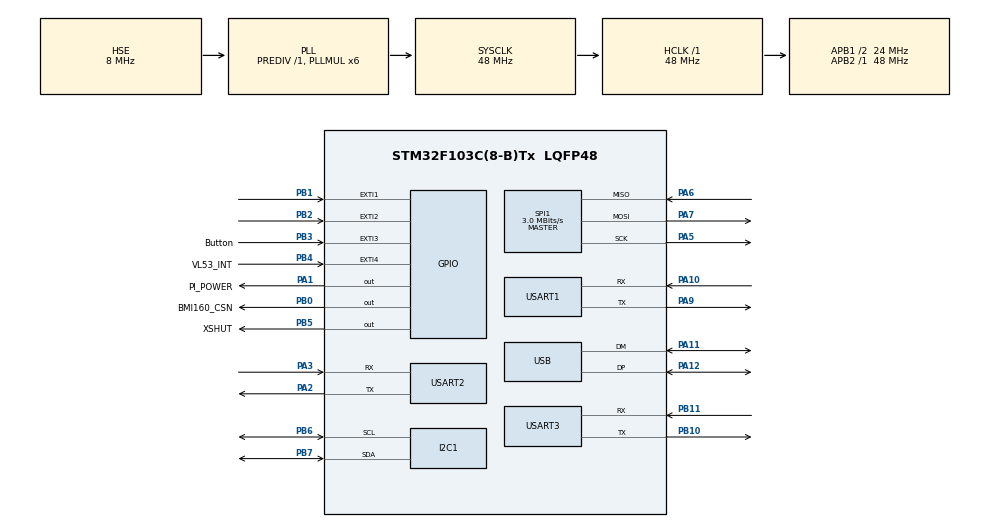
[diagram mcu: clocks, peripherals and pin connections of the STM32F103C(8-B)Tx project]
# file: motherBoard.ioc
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Dma.Request0=USART1_RX
Dma.USART1_RX.0.Direction=DMA_PERIPH_TO_MEMORY
Dma.USART1_RX.0.Instance=DMA1_Channel5
Dma.USART1_RX.0.MemDataAlignment=DMA_MDATAALIGN_BYTE
Dma.USART1_RX.0.MemInc=DMA_MINC_ENABLE
Dma.USART1_RX.0.Mode=DMA_NORMAL
Dma.USART1_RX.0.PeriphDataAlignment=DMA_PDATAALIGN_BYTE
Dma.USART1_RX.0.PeriphInc=DMA_PINC_DISABLE
Dma.USART1_RX.0.Priority=DMA_PRIORITY_LOW
Mcu.Family=STM32F1
Mcu.Name=STM32F103C(8-B)Tx
Mcu.Package=LQFP48
NVIC.DMA1_Channel5_IRQn=true\:0\:0\:false\:false\:true
NVIC.EXTI3_IRQn=true\:2\:0\:true\:false\:true
NVIC.PriorityGroup=NVIC_PRIORITYGROUP_4
NVIC.TIM1_UP_IRQn=true\:0\:0\:false\:false\:true
NVIC.USB_LP_CAN1_RX0_IRQn=true\:0\:0\:false\:false\:true
PA0-WKUP.Mode=SYS_WakeUp0
PA0-WKUP.Signal=SYS_WKUP
PA1.GPIO_Label=PI_POWER
PA1.PinState=GPIO_PIN_SET
PA1.Signal=GPIO_Output
PA10.Mode=Asynchronous
PA10.Signal=USART1_RX
PA11.Mode=Device
PA11.Signal=USB_DM
PA12.Mode=Device
PA12.Signal=USB_DP
PA13.Mode=Serial_Wire
PA13.Signal=SYS_JTMS-SWDIO
PA14.Mode=Serial_Wire
PA14.Signal=SYS_JTCK-SWCLK
PA2.Mode=Asynchronous
PA2.Signal=USART2_TX
PA3.Mode=Asynchronous
PA3.Signal=USART2_RX
PA5.Mode=Full_Duplex_Master
PA5.Signal=SPI1_SCK
PA6.Mode=Full_Duplex_Master
PA6.Signal=SPI1_MISO
PA7.Mode=Full_Duplex_Master
PA7.Signal=SPI1_MOSI
PA9.Mode=Asynchronous
PA9.Signal=USART1_TX
PB0.GPIO_Label=BMI160_CSN
PB0.Signal=GPIO_Output
PB1.Signal=GPXTI1
PB10.Mode=Asynchronous
PB10.Signal=USART3_TX
PB11.Mode=Asynchronous
PB11.Signal=USART3_RX
PB2.Signal=GPXTI2
PB3.GPIO_Label=Button
PB3.GPIO_ModeDefaultEXTI=GPIO_MODE_IT_FALLING
PB3.GPIO_PuPd=GPIO_PULLUP
PB3.Signal=GPXTI3
PB4.GPIO_Label=VL53_INT
PB4.Signal=GPXTI4
PB5.GPIO_Label=XSHUT
PB5.Signal=GPIO_Output
PB6.Mode=I2C
PB6.Signal=I2C1_SCL
PB7.Mode=I2C
PB7.Signal=I2C1_SDA
PD0-OSC_IN.Mode=HSE-External-Clock-Source
PD0-OSC_IN.Signal=RCC_OSC_IN
PD1-OSC_OUT.Mode=HSE-External-Clock-Source
PD1-OSC_OUT.Signal=RCC_OSC_OUT
ProjectManager.HeapSize=0x200
ProjectManager.StackSize=0x400
ProjectManager.TargetToolchain=MDK-ARM V5
RCC.AHBFreq_Value=48000000
RCC.APB1CLKDivider=RCC_HCLK_DIV2
RCC.APB1Freq_Value=24000000
RCC.APB1TimFreq_Value=48000000
RCC.APB2Freq_Value=48000000
RCC.APB2TimFreq_Value=48000000
RCC.HCLKFreq_Value=48000000
RCC.PLLMUL=RCC_PLL_MUL6
RCC.SYSCLKFreq_VALUE=48000000
RCC.SYSCLKSource=RCC_SYSCLKSOURCE_PLLCLK
RCC.USBFreq_Value=48000000
SPI1.BaudRatePrescaler=SPI_BAUDRATEPRESCALER_16
SPI1.CalculateBaudRate=3.0 MBits/s
SPI1.Direction=SPI_DIRECTION_2LINES
SPI1.Mode=SPI_MODE_MASTER
SPI1.VirtualType=VM_MASTER
TIM1.Period=4999
TIM1.Prescaler=47
USART1.VirtualMode=VM_ASYNC
USART2.VirtualMode=VM_ASYNC
USART3.VirtualMode=VM_ASYNC
USB.ep0_mps=DEP0CTL_MPS_64
USB_DEVICE.CLASS_NAME_FS=CDC
USB_DEVICE.VirtualMode=Cdc
USB_DEVICE.VirtualModeFS=Cdc_FS
VP_TIM1_VS_ClockSourceINT.Mode=Internal
VP_USB_DEVICE_VS_USB_DEVICE_CDC_FS.Mode=CDC_FS
board=motherBoard

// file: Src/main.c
/**
  ******************************************************************************
  * File Name          : main.c
  * Description        : Main program body
  ******************************************************************************
  * This notice applies to any and all portions of this file
  * that are not between comment pairs USER CODE BEGIN and
  * USER CODE END. Other portions of this file, whether
  * inserted by the user or by software development tools
  * are owned by their respective copyright owners.
  *
  * Copyright (c) 2019 STMicroelectronics International N.V.
  * All rights reserved.
  *
  * Redistribution and use in source and binary forms, with or without
  * modification, are permitted, provided that the following conditions are met:
  *
  * 1. Redistribution of source code must retain the above copyright notice,
  *    this list of conditions and the following disclaimer.
  * 2. Redistributions in binary form must reproduce the above copyright notice,
  *    this list of conditions and the following disclaimer in the documentation
  *    and/or other materials provided with the distribution.
  * 3. Neither the name of STMicroelectronics nor the names of other
  *    contributors to this software may be used to endorse or promote products
  *    derived from this software without specific written permission.
  * 4. This software, including modifications and/or derivative works of this
  *    software, must execute solely and exclusively on microcontroller or
  *    microprocessor devices manufactured by or for STMicroelectronics.
  * 5. Redistribution and use of this software other than as permitted under
  *    this license is void and will automatically terminate your rights under
  *    this license.
  *
  * THIS SOFTWARE IS PROVIDED BY STMICROELECTRONICS AND CONTRIBUTORS "AS IS"
  * AND ANY EXPRESS, IMPLIED OR STATUTORY WARRANTIES, INCLUDING, BUT NOT
  * LIMITED TO, THE IMPLIED WARRANTIES OF MERCHANTABILITY, FITNESS FOR A
  * PARTICULAR PURPOSE AND NON-INFRINGEMENT OF THIRD PARTY INTELLECTUAL PROPERTY
  * RIGHTS ARE DISCLAIMED TO THE FULLEST EXTENT PERMITTED BY LAW. IN NO EVENT
  * SHALL STMICROELECTRONICS OR CONTRIBUTORS BE LIABLE FOR ANY DIRECT, INDIRECT,
  * INCIDENTAL, SPECIAL, EXEMPLARY, OR CONSEQUENTIAL DAMAGES (INCLUDING, BUT NOT
  * LIMITED TO, PROCUREMENT OF SUBSTITUTE GOODS OR SERVICES; LOSS OF USE, DATA,
  * OR PROFITS; OR BUSINESS INTERRUPTION) HOWEVER CAUSED AND ON ANY THEORY OF
  * LIABILITY, WHETHER IN CONTRACT, STRICT LIABILITY, OR TORT (INCLUDING
  * NEGLIGENCE OR OTHERWISE) ARISING IN ANY WAY OUT OF THE USE OF THIS SOFTWARE,
  * EVEN IF ADVISED OF THE POSSIBILITY OF SUCH DAMAGE.
  *
  ******************************************************************************
  */
#include "main.h"
#include "stm32f1xx_hal.h"
#include "usb_device.h"

/* USER CODE BEGIN Includes */
#include "usbd_cdc_if.h"
/* USER CODE END Includes */

I2C_HandleTypeDef hi2c1;

SPI_HandleTypeDef hspi1;

TIM_HandleTypeDef htim1;

UART_HandleTypeDef huart1;
UART_HandleTypeDef huart2;
UART_HandleTypeDef huart3;
DMA_HandleTypeDef hdma_usart1_rx;

/* USER CODE BEGIN PV */
/* Private variables ---------------------------------------------------------*/
extern uint8_t* rxBuffer1;
extern uint8_t nanoPIFlag;
extern uint8_t startUpFlag;
/* USER CODE END PV */

void SystemClock_Config(void);
static void MX_GPIO_Init(void);
static void MX_DMA_Init(void);
static void MX_I2C1_Init(void);
static void MX_SPI1_Init(void);
static void MX_USART1_UART_Init(void);
static void MX_USART2_UART_Init(void);
static void MX_USART3_UART_Init(void);
static void MX_TIM1_Init(void);

/* USER CODE BEGIN PFP */
/* Private function prototypes -----------------------------------------------*/

/* USER CODE END PFP */

/* USER CODE BEGIN 0 */
void printCMD(char* cmd){
	HAL_UART_Transmit(&huart1,(uint8_t*)cmd,strlen(cmd),1);
	HAL_Delay(500);
}
/* USER CODE END 0 */

int main(void)
{

  /* MCU Configuration----------------------------------------------------------*/

  /* Reset of all peripherals, Initializes the Flash interface and the Systick. */
  HAL_Init();

  /* USER CODE BEGIN Init */
	nanoPIFlag = 0;
  /* USER CODE END Init */

  /* Configure the system clock */
  SystemClock_Config();

  /* Initialize all configured peripherals */
  MX_GPIO_Init();
  MX_DMA_Init();
  MX_I2C1_Init();
  MX_SPI1_Init();
  MX_USART1_UART_Init();
  MX_USART2_UART_Init();
  MX_USART3_UART_Init();
  MX_USB_DEVICE_Init();
  MX_TIM1_Init();

  /* USER CODE BEGIN 2 */
	__HAL_RCC_PWR_CLK_ENABLE();

	if(__HAL_PWR_GET_FLAG(PWR_FLAG_WU)!=RESET){
		__HAL_PWR_CLEAR_FLAG(PWR_FLAG_WU);
	}

	HAL_Delay(300);
	HAL_PWR_EnableWakeUpPin(PWR_WAKEUP_PIN1);

	__HAL_RCC_PWR_CLK_ENABLE();

	if(__HAL_PWR_GET_FLAG(PWR_FLAG_WU)!=RESET){
		__HAL_PWR_CLEAR_FLAG(PWR_FLAG_WU);
	}

	HAL_Delay(300);
	HAL_PWR_EnableWakeUpPin(PWR_WAKEUP_PIN1);

	HAL_Delay(5000);
	HAL_UART_Receive_DMA(&huart1,rxBuffer1,100);
	HAL_Delay(5);
  HAL_TIM_Base_Start_IT(&htim1);
  /* USER CODE END 2 */

  /* Infinite loop */
  /* USER CODE BEGIN WHILE */
  HAL_GPIO_WritePin(GPIOA,GPIO_PIN_1,GPIO_PIN_SET);

  while(startUpFlag==0){
    HAL_Delay(1000);
  }
  HAL_Delay(3000);

	printCMD("sudo su\n");
	printCMD("cd sockettest\n");
	printCMD("python3 mysocketDev.py\n");
	HAL_Delay(1000);
	nanoPIFlag = 1;
  while (1)
  {
  /* USER CODE END WHILE */

  /* USER CODE BEGIN 3 */
		HAL_Delay(500);
		if(HAL_GPIO_ReadPin(GPIOA,GPIO_PIN_0)==0){
			nanoPIFlag = 0;
			printCMD("end\n");
			printCMD("shutdown now\n");
			HAL_Delay(10000);
			HAL_GPIO_WritePin(GPIOA,GPIO_PIN_1,GPIO_PIN_RESET);
      HAL_Delay(10);
			HAL_PWR_EnterSTANDBYMode();
		}
  }
  /* USER CODE END 3 */

}

/** System Clock Configuration
*/
void SystemClock_Config(void)
{

  RCC_OscInitTypeDef RCC_OscInitStruct;
  RCC_ClkInitTypeDef RCC_ClkInitStruct;
  RCC_PeriphCLKInitTypeDef PeriphClkInit;

    /**Initializes the CPU, AHB and APB busses clocks
    */
  RCC_OscInitStruct.OscillatorType = RCC_OSCILLATORTYPE_HSE;
  RCC_OscInitStruct.HSEState = RCC_HSE_BYPASS;
  RCC_OscInitStruct.HSEPredivValue = RCC_HSE_PREDIV_DIV1;
  RCC_OscInitStruct.HSIState = RCC_HSI_ON;
  RCC_OscInitStruct.PLL.PLLState = RCC_PLL_ON;
  RCC_OscInitStruct.PLL.PLLSource = RCC_PLLSOURCE_HSE;
  RCC_OscInitStruct.PLL.PLLMUL = RCC_PLL_MUL6;
  if (HAL_RCC_OscConfig(&RCC_OscInitStruct) != HAL_OK)
  {
    _Error_Handler(__FILE__, __LINE__);
  }

    /**Initializes the CPU, AHB and APB busses clocks
    */
  RCC_ClkInitStruct.ClockType = RCC_CLOCKTYPE_HCLK|RCC_CLOCKTYPE_SYSCLK
                              |RCC_CLOCKTYPE_PCLK1|RCC_CLOCKTYPE_PCLK2;
  RCC_ClkInitStruct.SYSCLKSource = RCC_SYSCLKSOURCE_PLLCLK;
  RCC_ClkInitStruct.AHBCLKDivider = RCC_SYSCLK_DIV1;
  RCC_ClkInitStruct.APB1CLKDivider = RCC_HCLK_DIV2;
  RCC_ClkInitStruct.APB2CLKDivider = RCC_HCLK_DIV1;

  if (HAL_RCC_ClockConfig(&RCC_ClkInitStruct, FLASH_LATENCY_1) != HAL_OK)
  {
    _Error_Handler(__FILE__, __LINE__);
  }

  PeriphClkInit.PeriphClockSelection = RCC_PERIPHCLK_USB;
  PeriphClkInit.UsbClockSelection = RCC_USBCLKSOURCE_PLL;
  if (HAL_RCCEx_PeriphCLKConfig(&PeriphClkInit) != HAL_OK)
  {
    _Error_Handler(__FILE__, __LINE__);
  }

    /**Configure the Systick interrupt time
    */
  HAL_SYSTICK_Config(HAL_RCC_GetHCLKFreq()/1000);

    /**Configure the Systick
    */
  HAL_SYSTICK_CLKSourceConfig(SYSTICK_CLKSOURCE_HCLK);

  /* SysTick_IRQn interrupt configuration */
  HAL_NVIC_SetPriority(SysTick_IRQn, 0, 0);
}

/* I2C1 init function */
static void MX_I2C1_Init(void)
{

  hi2c1.Instance = I2C1;
  hi2c1.Init.ClockSpeed = 100000;
  hi2c1.Init.DutyCycle = I2C_DUTYCYCLE_2;
  hi2c1.Init.OwnAddress1 = 0;
  hi2c1.Init.AddressingMode = I2C_ADDRESSINGMODE_7BIT;
  hi2c1.Init.DualAddressMode = I2C_DUALADDRESS_DISABLE;
  hi2c1.Init.OwnAddress2 = 0;
  hi2c1.Init.GeneralCallMode = I2C_GENERALCALL_DISABLE;
  hi2c1.Init.NoStretchMode = I2C_NOSTRETCH_DISABLE;
  if (HAL_I2C_Init(&hi2c1) != HAL_OK)
  {
    _Error_Handler(__FILE__, __LINE__);
  }

}

/* SPI1 init function */
static void MX_SPI1_Init(void)
{

  hspi1.Instance = SPI1;
  hspi1.Init.Mode = SPI_MODE_MASTER;
  hspi1.Init.Direction = SPI_DIRECTION_2LINES;
  hspi1.Init.DataSize = SPI_DATASIZE_8BIT;
  hspi1.Init.CLKPolarity = SPI_POLARITY_LOW;
  hspi1.Init.CLKPhase = SPI_PHASE_1EDGE;
  hspi1.Init.NSS = SPI_NSS_SOFT;
  hspi1.Init.BaudRatePrescaler = SPI_BAUDRATEPRESCALER_16;
  hspi1.Init.FirstBit = SPI_FIRSTBIT_MSB;
  hspi1.Init.TIMode = SPI_TIMODE_DISABLE;
  hspi1.Init.CRCCalculation = SPI_CRCCALCULATION_DISABLE;
  hspi1.Init.CRCPolynomial = 10;
  if (HAL_SPI_Init(&hspi1) != HAL_OK)
  {
    _Error_Handler(__FILE__, __LINE__);
  }

}

/* TIM1 init function */
static void MX_TIM1_Init(void)
{

  TIM_ClockConfigTypeDef sClockSourceConfig;
  TIM_MasterConfigTypeDef sMasterConfig;

  htim1.Instance = TIM1;
  htim1.Init.Prescaler = 47;
  htim1.Init.CounterMode = TIM_COUNTERMODE_UP;
  htim1.Init.Period = 4999;
  htim1.Init.ClockDivision = TIM_CLOCKDIVISION_DIV1;
  htim1.Init.RepetitionCounter = 0;
  htim1.Init.AutoReloadPreload = TIM_AUTORELOAD_PRELOAD_DISABLE;
  if (HAL_TIM_Base_Init(&htim1) != HAL_OK)
  {
    _Error_Handler(__FILE__, __LINE__);
  }

  sClockSourceConfig.ClockSource = TIM_CLOCKSOURCE_INTERNAL;
  if (HAL_TIM_ConfigClockSource(&htim1, &sClockSourceConfig) != HAL_OK)
  {
    _Error_Handler(__FILE__, __LINE__);
  }

  sMasterConfig.MasterOutputTrigger = TIM_TRGO_RESET;
  sMasterConfig.MasterSlaveMode = TIM_MASTERSLAVEMODE_DISABLE;
  if (HAL_TIMEx_MasterConfigSynchronization(&htim1, &sMasterConfig) != HAL_OK)
  {
    _Error_Handler(__FILE__, __LINE__);
  }

}

/* USART1 init function */
static void MX_USART1_UART_Init(void)
{

  huart1.Instance = USART1;
  huart1.Init.BaudRate = 115200;
  huart1.Init.WordLength = UART_WORDLENGTH_8B;
  huart1.Init.StopBits = UART_STOPBITS_1;
  huart1.Init.Parity = UART_PARITY_NONE;
  huart1.Init.Mode = UART_MODE_TX_RX;
  huart1.Init.HwFlowCtl = UART_HWCONTROL_NONE;
  huart1.Init.OverSampling = UART_OVERSAMPLING_16;
  if (HAL_UART_Init(&huart1) != HAL_OK)
  {
    _Error_Handler(__FILE__, __LINE__);
  }

}

/* USART2 init function */
static void MX_USART2_UART_Init(void)
{

  huart2.Instance = USART2;
  huart2.Init.BaudRate = 115200;
  huart2.Init.WordLength = UART_WORDLENGTH_8B;
  huart2.Init.StopBits = UART_STOPBITS_1;
  huart2.Init.Parity = UART_PARITY_NONE;
  huart2.Init.Mode = UART_MODE_TX_RX;
  huart2.Init.HwFlowCtl = UART_HWCONTROL_NONE;
  huart2.Init.OverSampling = UART_OVERSAMPLING_16;
  if (HAL_UART_Init(&huart2) != HAL_OK)
  {
    _Error_Handler(__FILE__, __LINE__);
  }

}

/* USART3 init function */
static void MX_USART3_UART_Init(void)
{

  huart3.Instance = USART3;
  huart3.Init.BaudRate = 115200;
  huart3.Init.WordLength = UART_WORDLENGTH_8B;
  huart3.Init.StopBits = UART_STOPBITS_1;
  huart3.Init.Parity = UART_PARITY_NONE;
  huart3.Init.Mode = UART_MODE_TX_RX;
  huart3.Init.HwFlowCtl = UART_HWCONTROL_NONE;
  huart3.Init.OverSampling = UART_OVERSAMPLING_16;
  if (HAL_UART_Init(&huart3) != HAL_OK)
  {
    _Error_Handler(__FILE__, __LINE__);
  }

}

static void MX_DMA_Init(void)
{
  /* DMA controller clock enable */
  __HAL_RCC_DMA1_CLK_ENABLE();

  /* DMA interrupt init */
  /* DMA1_Channel5_IRQn interrupt configuration */
  HAL_NVIC_SetPriority(DMA1_Channel5_IRQn, 0, 0);
  HAL_NVIC_EnableIRQ(DMA1_Channel5_IRQn);

}

/** Configure pins as
        * Analog
        * Input
        * Output
        * EVENT_OUT
        * EXTI
*/
static void MX_GPIO_Init(void)
{

  GPIO_InitTypeDef GPIO_InitStruct;

  /* GPIO Ports Clock Enable */
  __HAL_RCC_GPIOD_CLK_ENABLE();
  __HAL_RCC_GPIOA_CLK_ENABLE();
  __HAL_RCC_GPIOB_CLK_ENABLE();

  /*Configure GPIO pin Output Level */
  HAL_GPIO_WritePin(PI_POWER_GPIO_Port, PI_POWER_Pin, GPIO_PIN_RESET);

  /*Configure GPIO pin Output Level */
  HAL_GPIO_WritePin(GPIOB, BMI160_CSN_Pin|XSHUT_Pin, GPIO_PIN_RESET);

  /*Configure GPIO pin : PI_POWER_Pin */
  GPIO_InitStruct.Pin = PI_POWER_Pin;
  GPIO_InitStruct.Mode = GPIO_MODE_OUTPUT_PP;
  GPIO_InitStruct.Speed = GPIO_SPEED_FREQ_LOW;
  HAL_GPIO_Init(PI_POWER_GPIO_Port, &GPIO_InitStruct);

  /*Configure GPIO pins : BMI160_CSN_Pin XSHUT_Pin */
  GPIO_InitStruct.Pin = BMI160_CSN_Pin|XSHUT_Pin;
  GPIO_InitStruct.Mode = GPIO_MODE_OUTPUT_PP;
  GPIO_InitStruct.Speed = GPIO_SPEED_FREQ_LOW;
  HAL_GPIO_Init(GPIOB, &GPIO_InitStruct);

  /*Configure GPIO pins : PB1 PB2 VL53_INT_Pin */
  GPIO_InitStruct.Pin = GPIO_PIN_1|GPIO_PIN_2|VL53_INT_Pin;
  GPIO_InitStruct.Mode = GPIO_MODE_IT_RISING;
  GPIO_InitStruct.Pull = GPIO_NOPULL;
  HAL_GPIO_Init(GPIOB, &GPIO_InitStruct);

  /*Configure GPIO pin : Button_Pin */
  GPIO_InitStruct.Pin = Button_Pin;
  GPIO_InitStruct.Mode = GPIO_MODE_IT_FALLING;
  GPIO_InitStruct.Pull = GPIO_PULLUP;
  HAL_GPIO_Init(Button_GPIO_Port, &GPIO_InitStruct);

  /* EXTI interrupt init*/
  HAL_NVIC_SetPriority(EXTI3_IRQn, 2, 0);
  HAL_NVIC_EnableIRQ(EXTI3_IRQn);

}

void _Error_Handler(char * file, int line)
{
  while(1)
  {
  }
}

/************************ (C) COPYRIGHT STMicroelectronics *****END OF FILE****/
